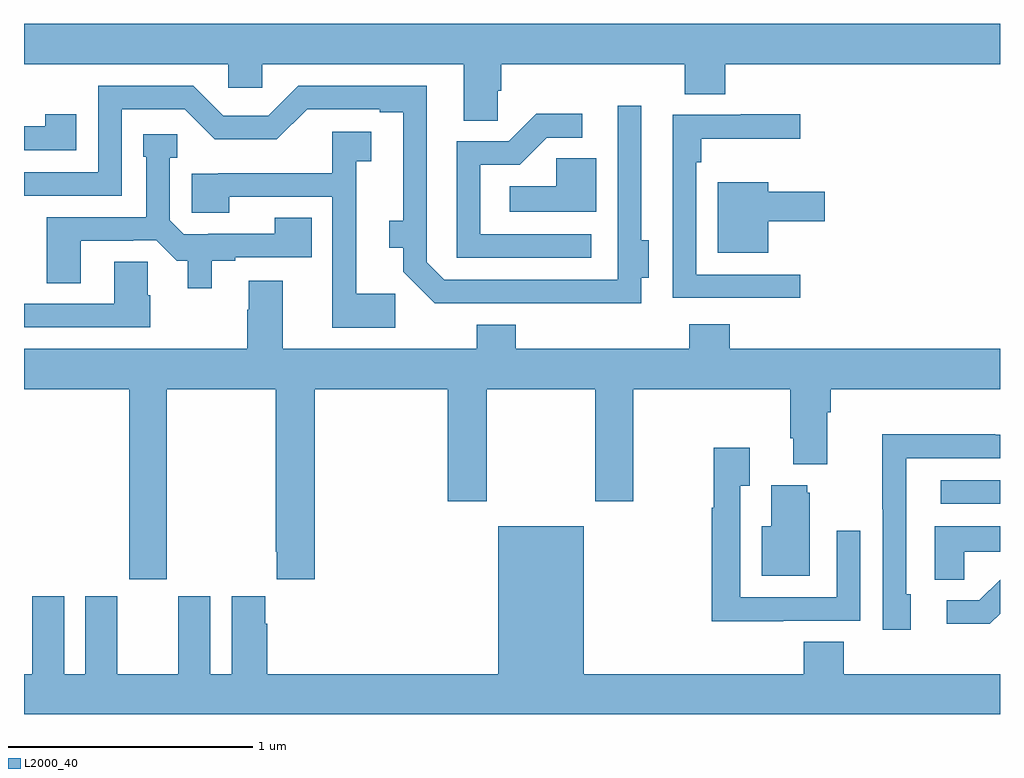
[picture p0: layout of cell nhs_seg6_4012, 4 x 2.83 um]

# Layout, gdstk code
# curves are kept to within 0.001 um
import gdstk
lib = gdstk.Library(unit=1e-6, precision=1e-09)
def R(c, l, rs):  # rectangles x0, y0, x1, y1
    for r in rs: c.add(gdstk.rectangle(r[:2], r[2:], *l))
def P(c, l, *ps):  # polygons
    for p in ps: c.add(gdstk.Polygon(p, *l))
L2000_40 = (2000, 40)

nhs_seg6_4012 = lib.new_cell('nhs_seg6_4012')
R(nhs_seg6_4012, L2000_40, [(350.757,982.83,351,982.926)])
P(nhs_seg6_4012, L2000_40, [(348.942,984.523),(348.956,984.523),(348.956,984.632),(349.709,984.632),(349.709,984.508),(349.874,984.508),(349.874,984.632),(351,984.632),(351,984.796),(347,984.796),(347,984.632),(347.838,984.632),(347.838,984.534),(347.976,984.534),(347.976,984.632),(348.803,984.632),(348.803,984.4),(348.942,984.4)],
  [(348.784,983.652),(349.53,983.651),(349.53,983.756),(349.561,983.756),(349.561,983.909),(349.53,983.909),(349.53,984.46),(349.434,984.46),(349.434,983.748),(348.723,983.748),(348.651,983.82),(348.651,984.543),(348.123,984.543),(348,984.42),(347.817,984.42),(347.694,984.543),(347.304,984.543),(347.304,984.189),(347,984.189),(347,984.093),(347.4,984.093),(347.4,984.447),(347.658,984.447),(347.782,984.323),(348.036,984.323),(348.16,984.447),(348.458,984.447),(348.458,984.435),(348.554,984.435),(348.554,983.989),(348.497,983.989),(348.497,983.879),(348.554,983.879),(348.554,983.78),(348.683,983.651)],
  [(349.324,983.934),(348.87,983.934),(348.87,984.219),(349.032,984.219),(349.143,984.33),(349.288,984.33),(349.288,984.428),(349.1,984.428),(348.987,984.315),(348.774,984.315),(348.774,983.838),(349.324,983.838)],
  [(347.215,984.427),(347.087,984.427),(347.087,984.376),(347,984.376),(347,984.279),(347.215,984.279)],
  [(350.182,983.769),(349.755,983.769),(349.755,984.23),(349.775,984.23),(349.775,984.326),(350.182,984.326),(350.182,984.427),(349.937,984.427),(349.937,984.423),(349.659,984.423),(349.659,983.673),(350.182,983.673)],
  [(348.522,983.691),(348.361,983.691),(348.361,984.234),(348.424,984.234),(348.424,984.355),(348.264,984.355),(348.264,984.184),(347.797,984.184),(347.797,984.183),(347.687,984.183),(347.687,984.022),(347.841,984.022),(347.841,984.087),(348.264,984.087),(348.264,983.552),(348.522,983.552)],
  [(347.77,983.826),(347.866,983.826),(347.866,983.841),(348.179,983.841),(348.179,984.002),(348.028,984.002),(348.028,983.937),(347.755,983.937),(347.755,983.934),(347.655,983.934),(347.598,983.991),(347.598,984.247),(347.628,984.247),(347.628,984.345),(347.489,984.345),(347.489,984.252),(347.502,984.252),(347.502,984.003),(347.093,984.003),(347.093,983.734),(347.233,983.734),(347.233,983.907),(347.447,983.907),(347.447,983.91),(347.541,983.91),(347.625,983.826),(347.672,983.826),(347.672,983.712),(347.77,983.712)],
  [(349.345,984.245),(349.182,984.245),(349.182,984.13),(348.99,984.13),(348.99,984.026),(349.345,984.026)],
  [(350.05,983.987),(350.281,983.987),(350.281,984.109),(350.05,984.109),(350.05,984.148),(349.844,984.148),(349.844,983.858),(350.05,983.858)],
  [(347.517,983.685),(347.507,983.685),(347.507,983.822),(347.369,983.822),(347.369,983.649),(347,983.649),(347,983.553),(347.517,983.553)],
  [(348.856,983.464),(348.061,983.464),(348.061,983.743),(347.921,983.743),(347.921,983.624),(347.914,983.624),(347.914,983.464),(347,983.464),(347,983.3),(347.431,983.3),(347.431,982.521),(347.586,982.521),(347.586,983.3),(348.031,983.3),(348.031,982.633),(348.035,982.633),(348.035,982.521),(348.191,982.521),(348.191,983.3),(348.737,983.3),(348.737,982.839),(348.897,982.839),(348.897,983.3),(349.342,983.3),(349.342,982.839),(349.497,982.839),(349.497,983.3),(350.141,983.3),(350.141,983.098),(350.153,983.098),(350.153,982.991),(350.293,982.991),(350.293,983.204),(350.306,983.204),(350.306,983.3),(351,983.3),(351,983.464),(349.892,983.464),(349.892,983.566),(349.727,983.566),(349.727,983.464),(349.016,983.464),(349.016,983.563),(348.856,983.563)],
  [(350.635,982.458),(350.616,982.458),(350.616,983.016),(351,983.016),(351,983.112),(350.981,983.112),(350.981,983.114),(350.518,983.114),(350.518,982.807),(350.52,982.807),(350.52,982.314),(350.635,982.314)],
  [(350.111,982.35),(350.427,982.35),(350.427,982.72),(350.331,982.72),(350.331,982.446),(349.935,982.446),(349.935,982.903),(349.975,982.903),(349.975,983.059),(349.827,983.059),(349.827,982.814),(349.819,982.814),(349.819,982.349),(350.111,982.349)],
  [(350.221,982.875),(350.21,982.875),(350.21,982.906),(350.063,982.906),(350.063,982.738),(350.024,982.738),(350.024,982.535),(350.221,982.535)],
  [(351,982.132),(350.36,982.132),(350.36,982.265),(350.195,982.265),(350.195,982.132),(349.294,982.132),(349.294,982.738),(348.944,982.738),(348.944,982.132),(347.996,982.132),(347.996,982.337),(347.989,982.337),(347.989,982.45),(347.852,982.45),(347.852,982.132),(347.764,982.132),(347.764,982.45),(347.633,982.45),(347.633,982.132),(347.383,982.132),(347.383,982.45),(347.252,982.45),(347.252,982.132),(347.164,982.132),(347.164,982.45),(347.033,982.45),(347.033,982.132),(347,982.132),(347,981.968),(351,981.968)],
  [(350.853,982.634),(351,982.634),(351,982.738),(350.732,982.738),(350.732,982.519),(350.853,982.519)],
  [(351,982.378),(351,982.519),(350.915,982.434),(350.781,982.434),(350.781,982.337),(350.959,982.337)])

lib.write_gds('nhs_seg6_4012.gds')
